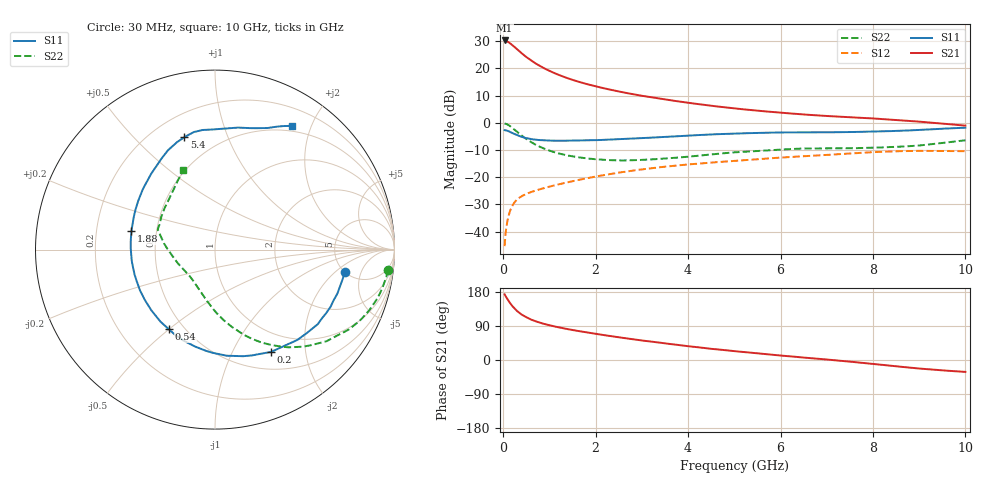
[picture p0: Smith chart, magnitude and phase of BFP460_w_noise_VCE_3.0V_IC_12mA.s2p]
! (c) 2016  Infineon Technologies AG, Munich
! Infineon Technologies  Discrete & RF Semiconductors
! BFP460
! VCE =  3.0 V,  IC =  12 mA
! Common Emitter S-Parameters:  Jan 2016
# GHz  S  MA  R  50
!  f  S11  S21  S12  S22
! GHz  MAG  ANG  MAG  ANG  MAG  ANG  MAG  ANG
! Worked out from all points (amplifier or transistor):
!   229 points, 30 MHz to 10 GHz, reference 50 ohm
!   highest |S21| = 30.3 dB at 30 MHz (marker M1)
!   |S21| within 3 dB of that: start of sweep to 284.7 MHz
!   unconditionally stable (mu >= 1): 2.263 GHz to 7.8 GHz
!   at 280 MHz: K = 0.30, MSG = 28.0 dB, |S12| = -28.6 dB
!   at 1.78 GHz: K = 0.95, MSG = 17.4 dB, |S12| = -20.5 dB
!   at 10 GHz: K = 0.97, MSG = 4.7 dB, |S12| = -10.4 dB
!   lowest NFmin = 1.03 dB at 450 MHz
!   S11 on the Smith chart (normalised r, x): 30 MHz: 4.95, -2.73; 200 MHz: 0.73, -1.43; 540 MHz: 0.41, -0.50; 1.88 GHz: 0.36, +0.09; 5.4 GHz: 0.33, +0.71; 10 GHz: 0.42, +1.72
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0.03  0.7335 -10.0  32.64 173.3  0.0054 84.1  0.9709 -6.8
0.07  0.7184 -23.4  31.84 164.5  0.0124 78.8  0.9495 -15.3
0.12  0.6988 -39.0  30.09 155.2  0.0202 72.1  0.902 -25.5
0.15  0.6812 -47.6  28.84 149.8  0.0243 68.3  0.867 -31.0
0.2  0.65 -61.2  26.72 141.9  0.0301 63.1  0.8043 -39.4
0.26  0.6143 -75.2  24.13 133.9  0.0358 58.1  0.729 -47.9
0.3  0.5949 -83.7  22.5 129.2  0.0388 55.6  0.6819 -53.0
0.36  0.5671 -94.8  20.28 123.3  0.0426 52.6  0.6186 -59.3
0.45  0.5368 -109.0  17.48 115.9  0.0472 49.7  0.5392 -67.4
0.54  0.5129 -120.0  15.3 110.5  0.051 48.2  0.4779 -73.5
0.7  0.49 -136.5  12.34 102.1  0.0568 46.8  0.396 -83.0
0.9  0.4758 -151.3  9.901 94.7  0.0636 46.6  0.331 -91.8
1.22  0.4676 -168.4  7.488 85.6  0.0745 47.2  0.2712 -102.8
1.7  0.4725 173.2  5.468 74.9  0.0918 47.5  0.2277 -115.8
1.88  0.4764 167.6  4.969 71.4  0.0985 47.2  0.2186 -120.3
2.6  0.5052 148.5  3.621 58.2  0.1251 44.7  0.2036 -138.8
3.4  0.5447 132.2  2.769 45.5  0.1527 40.0  0.2176 -157.7
5.1  0.6386 108.3  1.803 22.2  0.2026 29.6  0.2895 172.0
5.4  0.6485 105.3  1.701 18.8  0.2119 27.8  0.2994 169.1
6.8  0.669 93.1  1.368 3.4  0.2512 18.7  0.3381 159.7
8.4  0.7047 73.8  1.143 -15.4  0.2982 5.5  0.3587 143.4
10  0.8123 58.1  0.887 -31.4  0.3013 -6.9  0.4772 111.9
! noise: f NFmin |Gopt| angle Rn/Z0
0.45  1.03  0.09  22  0.14
1.9  1.19  0.09  -179  0.12
3.5  1.2  0.36  -133  0.12
